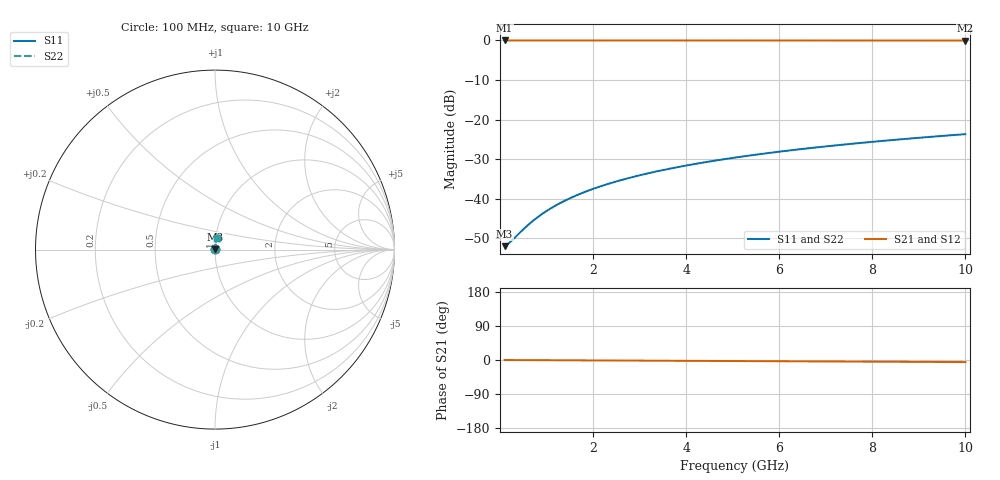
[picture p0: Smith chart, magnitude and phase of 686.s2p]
# Hz S RI R 50.00
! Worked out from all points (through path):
!   100 points, 100 MHz to 10 GHz, reference 50 ohm
!   highest |S21| = -0.02 dB at 100 MHz (marker M1); lowest = 0.0 dB at 10 GHz (marker M2)
!   lowest |S11| = -52.0 dB at 100 MHz (marker M3), VSWR 1.01, Z = 50.2 + j0.0653 ohm
!   |S11| at or under -10 dB: start of sweep to end of sweep
!   |S22| runs from -52.0 to -23.7 dB; largest |S21 - S12| = 0
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1e8  0.00243 0.00065  0.9976 -0.000953  0.9976 -0.000953  0.00243 0.00065
2e8  0.00244 0.0013  0.9976 -0.00191  0.9976 -0.00191  0.00244 0.0013
5e8  0.00249 0.00325  0.9975 -0.00476  0.9975 -0.00476  0.00249 0.00325
6e8  0.0025 0.0039  0.9975 -0.00572  0.9975 -0.00572  0.0025 0.0039
7e8  0.00251 0.00455  0.9975 -0.00667  0.9975 -0.00667  0.00251 0.00455
9e8  0.00255 0.00585  0.9974 -0.00858  0.9974 -0.00858  0.00255 0.00585
1.1e9  0.00258 0.00714  0.9974 -0.0105  0.9974 -0.0105  0.00258 0.00714
1.3e9  0.00262 0.00844  0.9974 -0.0124  0.9974 -0.0124  0.00262 0.00844
1.5e9  0.00266 0.00974  0.9973 -0.0143  0.9973 -0.0143  0.00266 0.00974
1.8e9  0.00273 0.0117  0.9972 -0.0172  0.9972 -0.0172  0.00273 0.0117
2.1e9  0.00281 0.0136  0.9972 -0.02  0.9972 -0.02  0.00281 0.0136
2.5e9  0.00294 0.0162  0.997 -0.0238  0.997 -0.0238  0.00294 0.0162
2.9e9  0.00309 0.0188  0.9969 -0.0276  0.9969 -0.0276  0.00309 0.0188
3.4e9  0.00329 0.0221  0.9966 -0.0324  0.9966 -0.0324  0.00329 0.0221
3.8e9  0.00348 0.0247  0.9964 -0.0362  0.9964 -0.0362  0.00348 0.0247
4.2e9  0.00369 0.0273  0.9962 -0.04  0.9962 -0.04  0.00369 0.0273
5.1e9  0.00423 0.0331  0.9956 -0.0486  0.9956 -0.0486  0.00423 0.0331
5.9e9  0.00479 0.0383  0.995 -0.0562  0.995 -0.0562  0.00479 0.0383
6.7e9  0.00543 0.0434  0.9943 -0.0638  0.9943 -0.0638  0.00543 0.0434
7.5e9  0.00615 0.0486  0.9936 -0.0714  0.9936 -0.0714  0.00615 0.0486
8.4e9  0.00706 0.0544  0.9926 -0.08  0.9926 -0.08  0.00706 0.0544
1e10  0.00892 0.0647  0.9906 -0.0951  0.9906 -0.0951  0.00892 0.0647
